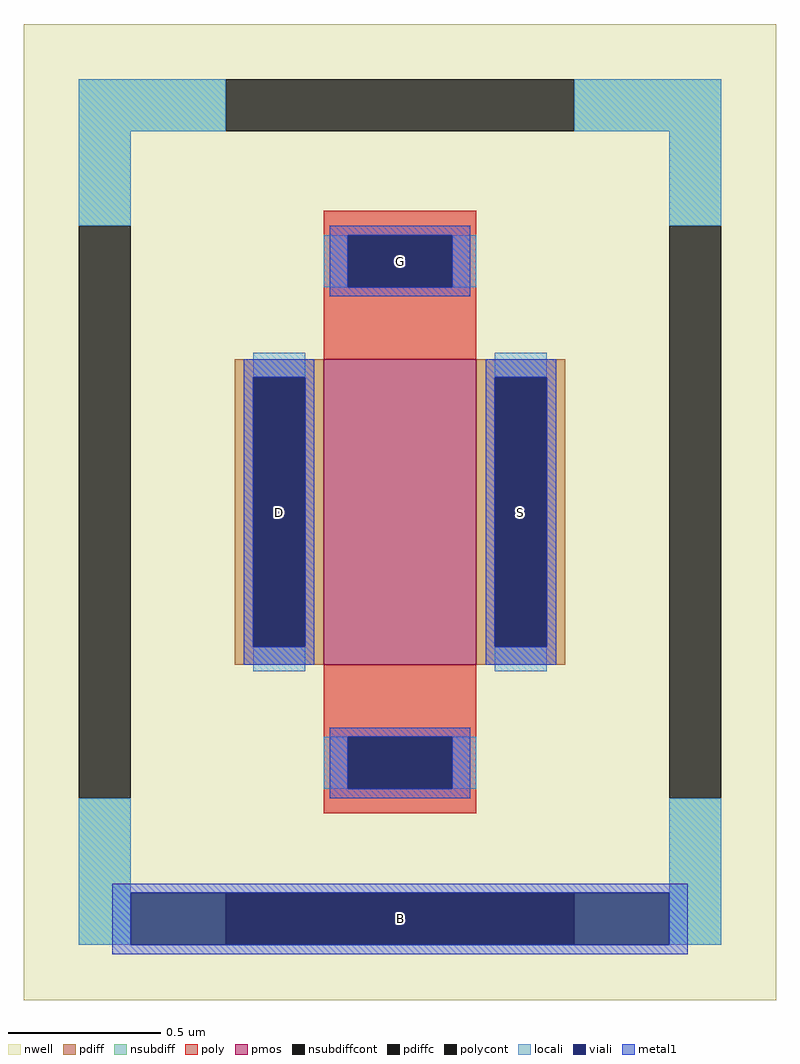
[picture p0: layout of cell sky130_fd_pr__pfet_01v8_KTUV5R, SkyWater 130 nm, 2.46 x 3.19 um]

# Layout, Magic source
magic
tech sky130A
magscale 1 2
<< nwell >>
rect -246 -319 246 319
<< pmos >>
rect -50 -100 50 100
<< pdiff >>
rect -108 88 -50 100
rect -108 -88 -96 88
rect -62 -88 -50 88
rect -108 -100 -50 -88
rect 50 88 108 100
rect 50 -88 62 88
rect 96 -88 108 88
rect 50 -100 108 -88
<< pdiffc >>
rect -96 -88 -62 88
rect 62 -88 96 88
<< nsubdiff >>
rect -210 249 -114 283
rect 114 249 210 283
rect -210 187 -176 249
rect 176 187 210 249
rect -210 -249 -176 -187
rect 176 -249 210 -187
rect -210 -283 -114 -249
rect 114 -283 210 -249
<< nsubdiffcont >>
rect -114 249 114 283
rect -210 -187 -176 187
rect 176 -187 210 187
rect -114 -283 114 -249
<< poly >>
rect -50 181 50 197
rect -50 147 -34 181
rect 34 147 50 181
rect -50 100 50 147
rect -50 -147 50 -100
rect -50 -181 -34 -147
rect 34 -181 50 -147
rect -50 -197 50 -181
<< polycont >>
rect -34 147 34 181
rect -34 -181 34 -147
<< locali >>
rect -210 249 -114 283
rect 114 249 210 283
rect -210 187 -176 249
rect 176 187 210 249
rect -50 147 -34 181
rect 34 147 50 181
rect -96 88 -62 104
rect -96 -104 -62 -88
rect 62 88 96 104
rect 62 -104 96 -88
rect -50 -181 -34 -147
rect 34 -181 50 -147
rect -210 -283 -176 -187
rect 176 -283 210 -187
<< viali >>
rect -34 147 34 181
rect -96 -88 -62 88
rect 62 -88 96 88
rect -34 -181 34 -147
rect -176 -283 -114 -249
rect -114 -283 114 -249
rect 114 -283 176 -249
<< metal1 >>
rect -46 181 46 187
rect -46 147 -34 181
rect 34 147 46 181
rect -46 141 46 147
rect -102 88 -56 100
rect -102 -88 -96 88
rect -62 -88 -56 88
rect -102 -100 -56 -88
rect 56 88 102 100
rect 56 -88 62 88
rect 96 -88 102 88
rect 56 -100 102 -88
rect -46 -147 46 -141
rect -46 -181 -34 -147
rect 34 -181 46 -147
rect -46 -187 46 -181
rect -188 -249 188 -243
rect -188 -283 -176 -249
rect 176 -283 188 -249
rect -188 -289 188 -283
<< labels >>
rlabel nsubdiffcont 0 -266 0 -266 0 B
port 17 nsew
rlabel pdiffc -79 0 -79 0 0 D
port 18 nsew
rlabel pdiffc 79 0 79 0 0 S
port 19 nsew
rlabel polycont 0 164 0 164 0 G
port 20 nsew
<< properties >>
string FIXED_BBOX -193 -266 193 266
string gencell sky130_fd_pr__pfet_01v8
string library sky130
string parameters w 1.0 l 0.5 m 1 nf 1 diffcov 100 polycov 100 guard 1 glc 1 grc 1 gtc 1 gbc 1 tbcov 100 rlcov 100 topc 1 botc 1 poverlap 0 doverlap 1 lmin 0.15 wmin 0.42 class mosfet compatible {sky130_fd_pr__pfet_01v8  sky130_fd_pr__pfet_01v8_lvt sky130_fd_pr__pfet_01v8_hvt  sky130_fd_pr__pfet_g5v0d10v5} full_metal 1 conn_gates 0 viasrc 100 viadrn 100 viagate 100 viagb 100 viagr 0 viagl 0 viagt 0 doports 1
<< end >>
